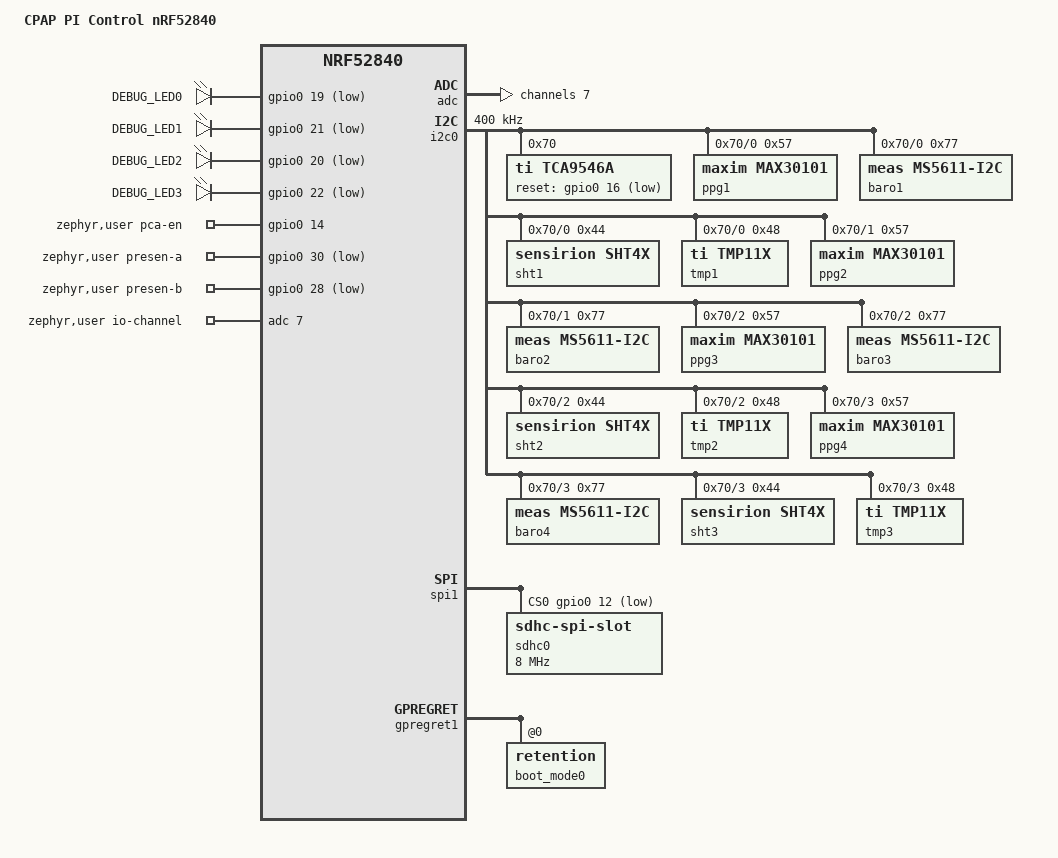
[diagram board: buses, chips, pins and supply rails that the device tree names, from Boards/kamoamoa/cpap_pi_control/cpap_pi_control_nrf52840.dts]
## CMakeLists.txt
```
cmake_minimum_required(VERSION 3.20.0)

# Adding board defined in this project to the board searching list
list(APPEND BOARD_ROOT ${CMAKE_CURRENT_SOURCE_DIR})

find_package(Zephyr REQUIRED HINTS $ENV{ZEPHYR_BASE})
project(cpap_pi)
target_sources(app PRIVATE
    src/main.c
    src/drivers/bus_diag.c
    src/drivers/driver_batt.c
    src/drivers/driver_led.c
    src/drivers/driver_ms5611.c
    src/sensors/sensor_manager.c
    src/sensors/ppg_reader.c
    src/sensors/sht40_reader.c
    src/sensors/tmp117_reader.c
    src/comm/ble_manager.c
    src/comm/comm_manager.c
    src/comm/rtt_stream.c
    src/comm/tput_sink.c
    src/storage/sd_logger.c
)
# target_sources(app PRIVATE src/myfunc.c)
target_sources_ifdef(CONFIG_MYFUNC app PRIVATE src/myfunc.c)
```

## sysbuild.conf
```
# OTA DFU: MCUboot bootloader, simplest configuration (ported from the
# caterpillar project where this setup is field-proven).
#
# No signature key is configured on purpose — the build auto-signs with
# the SDK's public development key (warns "not secure"; accepted: this
# is a research device and DFU is intentionally open).
#
# Overwrite-only: uploaded image replaces the app on next reset, no
# swap/revert machinery.  A broken update is recovered over SWD.
SB_CONFIG_BOOTLOADER_MCUBOOT=y
SB_CONFIG_MCUBOOT_MODE_OVERWRITE_ONLY=y
```

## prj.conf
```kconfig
CONFIG_PRINTK=y
CONFIG_LOG=y

CONFIG_I2C=y
CONFIG_SPI=y
CONFIG_ADC=y
CONFIG_GPIO=y

# TCA9548A mux: channel buses must init after the root mux, which must
# init after the underlying I2C controller (I2C_INIT_PRIORITY = 50)
CONFIG_I2C_TCA954X_ROOT_INIT_PRIO=60
CONFIG_I2C_TCA954X_CHANNEL_INIT_PRIO=70

# In-tree sensor drivers: MAX30101 x4 (configures mode + LED currents at
# init -> LEDs light up), SHT4x x3, TMP117 x3. Sensor devices must init
# after the mux channel buses (prio 70).
CONFIG_SENSOR=y
CONFIG_SENSOR_INIT_PRIORITY=80
CONFIG_MAX30101=y
CONFIG_SHT4X=y
CONFIG_TMP11X=y

# microSD card (SPI mode) via the disk subsystem
CONFIG_DISK_ACCESS=y
CONFIG_SDHC=y
CONFIG_SDMMC_STACK=y
CONFIG_DISK_DRIVER_SDMMC=y

# SD logging: FAT filesystem + MCUmgr file download (BLE log fetch)
CONFIG_FILE_SYSTEM=y
CONFIG_FAT_FILESYSTEM_ELM=y
CONFIG_FS_FATFS_LFN=y
# The SD writer thread and MCUmgr FS reads share the volume — FatFs
# must be reentrant (per-volume mutex) or concurrent access fails
CONFIG_FS_FATFS_REENTRANT=y
CONFIG_MCUMGR_GRP_FS=y
# Log files are multi-MB (the default profile assumes <=64 KB files)
CONFIG_MCUMGR_GRP_FS_MAX_FILE_SIZE_4GB=y
# fs_mgmt reads the chunk into a stack buffer on the MCUmgr workqueue
# (2 KB default -> stack overflow): bound the chunk and grow the stack
CONFIG_MCUMGR_GRP_FS_DL_CHUNK_SIZE_LIMIT=y
CONFIG_MCUMGR_GRP_FS_DL_CHUNK_SIZE=4096
CONFIG_MCUMGR_TRANSPORT_WORKQUEUE_STACK_SIZE=8192

CONFIG_MYFUNC=n



# BLE — peripheral, Nordic UART Service (NUS) sensor stream
CONFIG_BT=y
CONFIG_BT_PERIPHERAL=y
CONFIG_BT_DEVICE_NAME="CPAP_PI_Control"
CONFIG_BT_MAX_CONN=1
CONFIG_BT_MAX_PAIRED=1
CONFIG_BT_NUS=y

# Throughput: DLE 251 so a 204 B DATA frame fits one link packet.
# L2CAP MTU / ACL RX are sized for MCUmgr SMP reassembly (16 KB frames
# arrive as pipelined 498 B L2CAP SDUs) — caterpillar-proven values.
CONFIG_BT_BUF_ACL_TX_SIZE=251
CONFIG_BT_BUF_ACL_RX_SIZE=502
CONFIG_BT_L2CAP_TX_MTU=498
CONFIG_BT_CTLR_DATA_LENGTH_MAX=251
CONFIG_BT_DATA_LEN_UPDATE=y
CONFIG_BT_AUTO_DATA_LEN_UPDATE=y
CONFIG_BT_BUF_ACL_TX_COUNT=10
CONFIG_BT_BUF_EVT_RX_COUNT=20
CONFIG_BT_CONN_TX_MAX=10
CONFIG_BT_GAP_AUTO_UPDATE_CONN_PARAMS=y

# 2M PHY request on connect (halves airtime per notification)
CONFIG_BT_USER_PHY_UPDATE=y
CONFIG_BT_PHY_UPDATE=y

# --- OTA DFU: MCUmgr SMP over BLE (ported from caterpillar v1.5.1) ---
# MCUMGR *depends on* (doesn't select) these:
CONFIG_ZCBOR=y
CONFIG_NET_BUF=y
CONFIG_CRC=y
CONFIG_MCUMGR=y
CONFIG_MCUMGR_TRANSPORT_BT=y
CONFIG_MCUMGR_TRANSPORT_BT_REASSEMBLY=y
# Let clients query our buffer size so they use full-size upload chunks
CONFIG_MCUMGR_GRP_OS_MCUMGR_PARAMS=y
# Erase the target slot page-by-page during upload instead of all
# upfront — a bulk ~440 KB erase stalls the first upload chunk
CONFIG_IMG_ERASE_PROGRESSIVELY=y
# Renegotiate fast connection parameters while SMP traffic is active
# (Windows defaults to lazy ~60 ms intervals otherwise), relax after.
# Wide request window (7.5-30 ms): Windows rejects narrow aggressive
# requests outright but grants ~15 ms from a range it likes.
CONFIG_MCUMGR_TRANSPORT_BT_CONN_PARAM_CONTROL=y
CONFIG_MCUMGR_TRANSPORT_BT_CONN_PARAM_CONTROL_MIN_INT=6
CONFIG_MCUMGR_TRANSPORT_BT_CONN_PARAM_CONTROL_MAX_INT=24
CONFIG_MCUMGR_GRP_IMG=y
CONFIG_MCUMGR_GRP_OS=y
CONFIG_IMG_MANAGER=y
CONFIG_STREAM_FLASH=y
CONFIG_FLASH=y
CONFIG_FLASH_MAP=y
CONFIG_REBOOT=y
# Big SMP frames: each request/response cycle carries ~16 KB, amortizing
# the per-chunk round-trip stall (the fragments themselves stream as
# pipelined writes).  Two buffers instead of four to keep RAM in check.
CONFIG_MCUMGR_TRANSPORT_NETBUF_SIZE=16384
CONFIG_MCUMGR_TRANSPORT_NETBUF_COUNT=2

# Increase stacks for BLE workqueue traffic
CONFIG_BT_RX_STACK_SIZE=2048
CONFIG_SYSTEM_WORKQUEUE_STACK_SIZE=2048
```

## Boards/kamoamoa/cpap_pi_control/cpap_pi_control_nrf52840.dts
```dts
/*
 * CPAP PI Control board — Raytac MDBT50Q-P1MV2 module (nRF52840)
 *
 * Redesign of the CPAP PI control board:
 * - Normal-voltage mode (VDD = VDDH = 3.3 V) — no REGOUT0 dependence
 * - Mask link: I2C only, via PCA9517A repeater (EN = P0.14) over a
 *   SYMMETRIC 30-pin FFC (orientation-proof); mask mux reset = P0.16
 * - The mask carries a TCA9546A @0x70 with 4 site clusters:
 *     ch0/ch2/ch3: MAX30101 (0x57) + MS5611 in I2C mode (0x77)
 *                  + SHT40 (0x44) + TMP117 (0x48)
 *     ch1:         MAX30101 + MS5611 only
 * - microSD on SPI (CS P0.12), battery divider (1M/1M) on AIN7,
 *   mask-presence pins (grounded on the mask) P0.30/P0.28,
 *   4 active-low debug LEDs, reset button on P0.18
 *
 * SPDX-License-Identifier: Apache-2.0
 */

/dts-v1/;
#include <nordic/nrf52840_qiaa.dtsi>
#include <nordic/nrf52840_partition.dtsi>
#include <zephyr/dt-bindings/adc/adc.h>
#include <zephyr/dt-bindings/adc/nrf-saadc.h>
#include "cpap_pi_control_nrf52840-pinctrl.dtsi"

/ {
	model = "CPAP PI Control nRF52840";
	compatible = "kamoamoa,cpap-pi-control-nrf52840";

	chosen {
		zephyr,boot-mode = &boot_mode0;
	};

	leds {
		compatible = "gpio-leds";

		led0: led_0 {
			gpios = <&gpio0 19 GPIO_ACTIVE_LOW>;
			label = "DEBUG_LED0";
		};

		led1: led_1 {
			gpios = <&gpio0 21 GPIO_ACTIVE_LOW>;
			label = "DEBUG_LED1";
		};

		led2: led_2 {
			gpios = <&gpio0 20 GPIO_ACTIVE_LOW>;
			label = "DEBUG_LED2";
		};

		led3: led_3 {
			gpios = <&gpio0 22 GPIO_ACTIVE_LOW>;
			label = "DEBUG_LED3";
		};
	};

	zephyr,user {
		/* PCA9517A repeater enable — must be HIGH before any mask
		 * I2C traffic
		 */
		pca-en-gpios = <&gpio0 14 GPIO_ACTIVE_HIGH>;
		/* Mask presence: these FFC pins are grounded on the mask,
		 * so active-low + pull-up = "logical 1 when mask attached".
		 * Two pins because the symmetric cable maps A<->B when
		 * flipped; both are grounded mask-side.
		 */
		presen-a-gpios = <&gpio0 30 (GPIO_ACTIVE_LOW | GPIO_PULL_UP)>;
		presen-b-gpios = <&gpio0 28 (GPIO_ACTIVE_LOW | GPIO_PULL_UP)>;
		/* Battery voltage via 1M/1M divider */
		io-channels = <&adc 7>;
	};

	aliases {
		led0 = &led0;
		led1 = &led1;
		led2 = &led2;
		led3 = &led3;
		watchdog0 = &wdt0;
	};
};

&adc {
	status = "okay";
	#address-cells = <1>;
	#size-cells = <0>;

	/* BATT_SENSE = VBAT/2 (1M/1M). Gain 1/6, 0.6 V ref -> 3.6 V full
	 * scale; max acquisition time for the 500 kohm source impedance.
	 */
	channel@7 {
		reg = <7>;
		zephyr,gain = "ADC_GAIN_1_6";
		zephyr,reference = "ADC_REF_INTERNAL";
		zephyr,acquisition-time = <ADC_ACQ_TIME(ADC_ACQ_TIME_MICROSECONDS, 40)>;
		zephyr,input-positive = <NRF_SAADC_AIN7>; /* P0.31 */
		zephyr,resolution = <12>;
	};
};

&uicr {
	gpio-as-nreset;
};

&gpiote {
	status = "okay";
};

&gpio0 {
	status = "okay";
	gpio-line-names = "", "", "", "", "", "", "", "SD_MISO",
			  "", "", "", "SD_SCK", "SD_CS", "I2C_SDA", "PCA_EN",
			  "I2C_SCL", "MUX_RST", "", "RESET", "LED0", "LED2",
			  "LED1", "LED3", "", "", "", "", "",
			  "PRESEN_B", "", "PRESEN_A", "BATT_SENSE";
};

&gpio1 {
	status = "okay";
	gpio-line-names = "", "", "", "", "", "", "", "",
			  "", "SD_MOSI", "", "", "", "", "", "";
};

/* Mask bus: PCA9517A repeater (transparent) then the mask's TCA9546A
 * mux @0x70 (A0=A1=GND), reset via P0.16. Bus pull-ups are on the
 * mask (4.7k to 3.3 V per channel).
 */
&i2c0 {
	status = "okay";
	/* Fast mode is essential: ~26 mux-switched transactions per 10 ms
	 * tick (4x PPG + baro cycle) do not fit at the 100 kHz default.
	 * All devices (PCA9517A, TCA9546A, MAX30101, MS5611, SHT40,
	 * TMP117) are 400 kHz capable.
	 */
	clock-frequency = <I2C_BITRATE_FAST>;
	pinctrl-0 = <&i2c0_default>;
	pinctrl-1 = <&i2c0_sleep>;
	pinctrl-names = "default", "sleep";

	tca9546a: tca9546a@70 {
		compatible = "ti,tca9546a";
		reg = <0x70>;
		status = "okay";
		#address-cells = <1>;
		#size-cells = <0>;
		reset-gpios = <&gpio0 16 GPIO_ACTIVE_LOW>;

		mux_i2c0: mux_i2c@0 {
			compatible = "ti,tca9546a-channel";
			reg = <0>;
			#address-cells = <1>;
			#size-cells = <0>;

			ppg1: max30101@57 {
				compatible = "maxim,max30101";
				reg = <0x57>;
				acq-mode = "multi-led";
				/* DO NOT enable all 4 slots (e.g. duplicating
				 * a channel into slot 4): this NCS driver
				 * hardcodes MAX30101_MAX_NUM_CHANNELS=3 (a 9
				 * byte FIFO buffer, a 3-element raw[] array) —
				 * 4 active slots overflows both on every
				 * fetch. Learned the hard way; see power.md.
				 */
				led-slot = <1 2 3 0>; /* R, IR, G */
				smp-sr = <100>;
				led-pw = <411>;
				/* smp-ave does NOT average-without-cost: it
				 * decimates the FIFO's true refresh rate to
				 * smp-sr/smp-ave (e.g. 4 -> 25 Hz here), and
				 * our 100 Hz tick just re-reads the same
				 * stale FIFO entry 3 out of 4 polls. Tried
				 * smp-ave=4, caused a repeat-3x-then-jump
				 * stairstep in the data. Left at default (1,
				 * no averaging) so every 10 ms tick gets a
				 * genuinely fresh sample. See power.md.
				 */
				fifo-rollover-en;
				/* Performance-first: pushed well above the
				 * previous 6.2/25.4 mA (max-performance pass,
				 * power not a constraint). Below the 0xFF
				 * default that's known to saturate on skin;
				 * ppg_reader.c's ambient dark-reference buys
				 * back the ADC headroom this costs.
				 */
				led-pa = [60 60 b0];
				adc-rge = <16384>;
			};

			baro1: ms5611@77 {
				compatible = "meas,ms5611-i2c";
				reg = <0x77>;
			};

			sht1: sht4x@44 {
				compatible = "sensirion,sht4x";
				reg = <0x44>;
				repeatability = <2>;
			};

			tmp1: tmp117@48 {
				compatible = "ti,tmp11x";
				reg = <0x48>;
			};
		};

		mux_i2c1: mux_i2c@1 {
			compatible = "ti,tca9546a-channel";
			reg = <1>;
			#address-cells = <1>;
			#size-cells = <0>;

			ppg2: max30101@57 {
				compatible = "maxim,max30101";
				reg = <0x57>;
				acq-mode = "multi-led";
				led-slot = <1 2 3 0>; /* R, IR, G — see ppg1 note: no 4th slot */
				smp-sr = <100>;
				led-pw = <411>;
				/* smp-ave left at default — see ppg1 note */
				fifo-rollover-en;
				/* Performance-first: pushed well above the
				 * previous 6.2/25.4 mA (max-performance pass,
				 * power not a constraint). Below the 0xFF
				 * default that's known to saturate on skin;
				 * ppg_reader.c's ambient dark-reference buys
				 * back the ADC headroom this costs.
				 */
				led-pa = [60 60 b0];
				adc-rge = <16384>;
			};

			baro2: ms5611@77 {
				compatible = "meas,ms5611-i2c";
				reg = <0x77>;
			};
		};

		mux_i2c2: mux_i2c@2 {
			compatible = "ti,tca9546a-channel";
			reg = <2>;
			#address-cells = <1>;
			#size-cells = <0>;

			ppg3: max30101@57 {
				compatible = "maxim,max30101";
				reg = <0x57>;
				acq-mode = "multi-led";
				led-slot = <1 2 3 0>; /* R, IR, G — see ppg1 note: no 4th slot */
				smp-sr = <100>;
				led-pw = <411>;
				/* smp-ave left at default — see ppg1 note */
				fifo-rollover-en;
				/* Performance-first: pushed well above the
				 * previous 6.2/25.4 mA (max-performance pass,
				 * power not a constraint). Below the 0xFF
				 * default that's known to saturate on skin;
				 * ppg_reader.c's ambient dark-reference buys
				 * back the ADC headroom this costs.
				 */
				led-pa = [60 60 b0];
				adc-rge = <16384>;
			};

			baro3: ms5611@77 {
				compatible = "meas,ms5611-i2c";
				reg = <0x77>;
			};

			sht2: sht4x@44 {
				compatible = "sensirion,sht4x";
				reg = <0x44>;
				repeatability = <2>;
			};

			tmp2: tmp117@48 {
				compatible = "ti,tmp11x";
				reg = <0x48>;
			};
		};

		mux_i2c3: mux_i2c@3 {
			compatible = "ti,tca9546a-channel";
			reg = <3>;
			#address-cells = <1>;
			#size-cells = <0>;

			ppg4: max30101@57 {
				compatible = "maxim,max30101";
				reg = <0x57>;
				acq-mode = "multi-led";
				led-slot = <1 2 3 0>; /* R, IR, G — see ppg1 note: no 4th slot */
				smp-sr = <100>;
				led-pw = <411>;
				/* smp-ave left at default — see ppg1 note */
				fifo-rollover-en;
				/* Performance-first: pushed well above the
				 * previous 6.2/25.4 mA (max-performance pass,
				 * power not a constraint). Below the 0xFF
				 * default that's known to saturate on skin;
				 * ppg_reader.c's ambient dark-reference buys
				 * back the ADC headroom this costs.
				 */
				led-pa = [60 60 b0];
				adc-rge = <16384>;
			};

			baro4: ms5611@77 {
				compatible = "meas,ms5611-i2c";
				reg = <0x77>;
			};

			sht3: sht4x@44 {
				compatible = "sensirion,sht4x";
				reg = <0x44>;
				repeatability = <2>;
			};

			tmp3: tmp117@48 {
				compatible = "ti,tmp11x";
				reg = <0x48>;
			};
		};
	};
};

/* microSD card, SPI mode */
&spi1 {
	status = "okay";
	pinctrl-0 = <&spi1_default>;
	pinctrl-1 = <&spi1_sleep>;
	pinctrl-names = "default", "sleep";
	cs-gpios = <&gpio0 12 GPIO_ACTIVE_LOW>;

	sdhc0: sdhc@0 {
		compatible = "zephyr,sdhc-spi-slot";
		reg = <0>;
		status = "okay";
		spi-max-frequency = <8000000>;

		mmc {
			compatible = "zephyr,sdmmc-disk";
			disk-name = "SD";
			status = "okay";
		};
	};
};

&gpregret1 {
	status = "okay";

	boot_mode0: boot_mode@0 {
		compatible = "zephyr,retention";
		status = "okay";
		reg = <0x0 0x1>;
	};
};
```

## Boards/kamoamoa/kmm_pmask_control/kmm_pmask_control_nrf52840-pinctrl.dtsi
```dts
&pinctrl {
	/* I2C to the mask via PCA9517A repeater (EN = P0.14) */
	i2c0_default: i2c0_default {
		group1 {
			psels = <NRF_PSEL(TWIM_SDA, 0, 13)>,
				    <NRF_PSEL(TWIM_SCL, 0, 15)>;
		};
	};

	i2c0_sleep: i2c0_sleep {
		group1 {
			psels = <NRF_PSEL(TWIM_SDA, 0, 13)>,
				    <NRF_PSEL(TWIM_SCL, 0, 15)>;
			low-power-enable;
		};
	};

	/* microSD card, SPI mode */
	spi1_default: spi1_default {
		group1 {
			psels = <NRF_PSEL(SPIM_SCK, 0, 11)>,
				    <NRF_PSEL(SPIM_MOSI, 1, 9)>,
				    <NRF_PSEL(SPIM_MISO, 0, 7)>;
		};
	};

	spi1_sleep: spi1_sleep {
		group1 {
			psels = <NRF_PSEL(SPIM_SCK, 0, 11)>,
				    <NRF_PSEL(SPIM_MOSI, 1, 9)>,
				    <NRF_PSEL(SPIM_MISO, 0, 7)>;
			low-power-enable;
		};
	};
};
```

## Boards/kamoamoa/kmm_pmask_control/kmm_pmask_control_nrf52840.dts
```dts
/*
 * KMM PMask Control board — Raytac MDBT50Q-P1MV2 module (nRF52840)
 *
 * Redesign of the CPAP PI control board:
 * - Normal-voltage mode (VDD = VDDH = 3.3 V) — no REGOUT0 dependence
 * - Mask link: I2C only, via PCA9517A repeater (EN = P0.14) over a
 *   SYMMETRIC 30-pin FFC (orientation-proof); mask mux reset = P0.16
 * - The mask carries a TCA9546A @0x70 with 4 site clusters:
 *     ch0/ch2/ch3: MAX30101 (0x57) + MS5611 in I2C mode (0x77)
 *                  + SHT40 (0x44) + TMP117 (0x48)
 *     ch1:         MAX30101 + MS5611 only
 * - microSD on SPI (CS P0.12), battery divider (1M/1M) on AIN7,
 *   mask-presence pins (grounded on the mask) P0.30/P0.28,
 *   4 active-low debug LEDs, reset button on P0.18
 *
 * SPDX-License-Identifier: Apache-2.0
 */

/dts-v1/;
#include <nordic/nrf52840_qiaa.dtsi>
#include <nordic/nrf52840_partition.dtsi>
#include <zephyr/dt-bindings/adc/adc.h>
#include <zephyr/dt-bindings/adc/nrf-saadc.h>
#include "kmm_pmask_control_nrf52840-pinctrl.dtsi"

/ {
	model = "KMM PMask Control nRF52840";
	compatible = "kamoamoa,kmm-pmask-control-nrf52840";

	chosen {
		zephyr,boot-mode = &boot_mode0;
	};

	leds {
		compatible = "gpio-leds";

		led0: led_0 {
			gpios = <&gpio0 19 GPIO_ACTIVE_LOW>;
			label = "DEBUG_LED0";
		};

		led1: led_1 {
			gpios = <&gpio0 21 GPIO_ACTIVE_LOW>;
			label = "DEBUG_LED1";
		};

		led2: led_2 {
			gpios = <&gpio0 20 GPIO_ACTIVE_LOW>;
			label = "DEBUG_LED2";
		};

		led3: led_3 {
			gpios = <&gpio0 22 GPIO_ACTIVE_LOW>;
			label = "DEBUG_LED3";
		};
	};

	zephyr,user {
		/* PCA9517A repeater enable — must be HIGH before any mask
		 * I2C traffic
		 */
		pca-en-gpios = <&gpio0 14 GPIO_ACTIVE_HIGH>;
		/* Mask presence: these FFC pins are grounded on the mask,
		 * so active-low + pull-up = "logical 1 when mask attached".
		 * Two pins because the symmetric cable maps A<->B when
		 * flipped; both are grounded mask-side.
		 */
		presen-a-gpios = <&gpio0 30 (GPIO_ACTIVE_LOW | GPIO_PULL_UP)>;
		presen-b-gpios = <&gpio0 28 (GPIO_ACTIVE_LOW | GPIO_PULL_UP)>;
		/* Battery voltage via 1M/1M divider */
		io-channels = <&adc 7>;
	};

	aliases {
		led0 = &led0;
		led1 = &led1;
		led2 = &led2;
		led3 = &led3;
		watchdog0 = &wdt0;
	};
};

&adc {
	status = "okay";
	#address-cells = <1>;
	#size-cells = <0>;

	/* BATT_SENSE = VBAT/2 (1M/1M). Gain 1/6, 0.6 V ref -> 3.6 V full
	 * scale; max acquisition time for the 500 kohm source impedance.
	 */
	channel@7 {
		reg = <7>;
		zephyr,gain = "ADC_GAIN_1_6";
		zephyr,reference = "ADC_REF_INTERNAL";
		zephyr,acquisition-time = <ADC_ACQ_TIME(ADC_ACQ_TIME_MICROSECONDS, 40)>;
		zephyr,input-positive = <NRF_SAADC_AIN7>; /* P0.31 */
		zephyr,resolution = <12>;
	};
};

&uicr {
	gpio-as-nreset;
};

&gpiote {
	status = "okay";
};

&gpio0 {
	status = "okay";
	gpio-line-names = "", "", "", "", "", "", "", "SD_MISO",
			  "", "", "", "SD_SCK", "SD_CS", "I2C_SDA", "PCA_EN",
			  "I2C_SCL", "MUX_RST", "", "RESET", "LED0", "LED2",
			  "LED1", "LED3", "", "", "", "", "",
			  "PRESEN_B", "", "PRESEN_A", "BATT_SENSE";
};

&gpio1 {
	status = "okay";
	gpio-line-names = "", "", "", "", "", "", "", "",
			  "", "SD_MOSI", "", "", "", "", "", "";
};

/* Mask bus: PCA9517A repeater (transparent) then the mask's TCA9546A
 * mux @0x70 (A0=A1=GND), reset via P0.16. Bus pull-ups are on the
 * mask (4.7k to 3.3 V per channel).
 */
&i2c0 {
	status = "okay";
	/* Fast mode is essential: ~26 mux-switched transactions per 10 ms
	 * tick (4x PPG + baro cycle) do not fit at the 100 kHz default.
	 * All devices (PCA9517A, TCA9546A, MAX30101, MS5611, SHT40,
	 * TMP117) are 400 kHz capable.
	 */
	clock-frequency = <I2C_BITRATE_FAST>;
	pinctrl-0 = <&i2c0_default>;
	pinctrl-1 = <&i2c0_sleep>;
	pinctrl-names = "default", "sleep";

	tca9546a: tca9546a@70 {
		compatible = "ti,tca9546a";
		reg = <0x70>;
		status = "okay";
		#address-cells = <1>;
		#size-cells = <0>;
		reset-gpios = <&gpio0 16 GPIO_ACTIVE_LOW>;

		mux_i2c0: mux_i2c@0 {
			compatible = "ti,tca9546a-channel";
			reg = <0>;
			#address-cells = <1>;
			#size-cells = <0>;

			ppg1: max30101@57 {
				compatible = "maxim,max30101";
				reg = <0x57>;
				acq-mode = "multi-led";
				led-slot = <1 2 3 0>; /* R, IR, G */
				smp-sr = <100>;
				led-pw = <411>;
				fifo-rollover-en;
				led-pa = [1f 1f 7f];
				adc-rge = <16384>;
			};

			baro1: ms5611@77 {
				compatible = "meas,ms5611-i2c";
				reg = <0x77>;
			};

			sht1: sht4x@44 {
				compatible = "sensirion,sht4x";
				reg = <0x44>;
				repeatability = <2>;
			};

			tmp1: tmp117@48 {
				compatible = "ti,tmp11x";
				reg = <0x48>;
			};
		};

		mux_i2c1: mux_i2c@1 {
			compatible = "ti,tca9546a-channel";
			reg = <1>;
			#address-cells = <1>;
			#size-cells = <0>;

			ppg2: max30101@57 {
				compatible = "maxim,max30101";
				reg = <0x57>;
				acq-mode = "multi-led";
				led-slot = <1 2 3 0>;
				smp-sr = <100>;
				led-pw = <411>;
				fifo-rollover-en;
				led-pa = [1f 1f 7f];
				adc-rge = <16384>;
			};

			baro2: ms5611@77 {
				compatible = "meas,ms5611-i2c";
				reg = <0x77>;
			};
		};

		mux_i2c2: mux_i2c@2 {
			compatible = "ti,tca9546a-channel";
			reg = <2>;
			#address-cells = <1>;
			#size-cells = <0>;

			ppg3: max30101@57 {
				compatible = "maxim,max30101";
				reg = <0x57>;
				acq-mode = "multi-led";
				led-slot = <1 2 3 0>;
				smp-sr = <100>;
				led-pw = <411>;
				fifo-rollover-en;
				led-pa = [1f 1f 7f];
				adc-rge = <16384>;
			};

			baro3: ms5611@77 {
				compatible = "meas,ms5611-i2c";
				reg = <0x77>;
			};

			sht2: sht4x@44 {
				compatible = "sensirion,sht4x";
				reg = <0x44>;
				repeatability = <2>;
			};

			tmp2: tmp117@48 {
				compatible = "ti,tmp11x";
				reg = <0x48>;
			};
		};

		mux_i2c3: mux_i2c@3 {
			compatible = "ti,tca9546a-channel";
			reg = <3>;
			#address-cells = <1>;
			#size-cells = <0>;

			ppg4: max30101@57 {
				compatible = "maxim,max30101";
				reg = <0x57>;
				acq-mode = "multi-led";
				led-slot = <1 2 3 0>;
				smp-sr = <100>;
				led-pw = <411>;
				fifo-rollover-en;
				led-pa = [1f 1f 7f];
				adc-rge = <16384>;
			};

			baro4: ms5611@77 {
				compatible = "meas,ms5611-i2c";
				reg = <0x77>;
			};

			sht3: sht4x@44 {
				compatible = "sensirion,sht4x";
				reg = <0x44>;
				repeatability = <2>;
			};

			tmp3: tmp117@48 {
				compatible = "ti,tmp11x";
				reg = <0x48>;
			};
		};
	};
};

/* microSD card, SPI mode */
&spi1 {
	status = "okay";
	pinctrl-0 = <&spi1_default>;
	pinctrl-1 = <&spi1_sleep>;
	pinctrl-names = "default", "sleep";
	cs-gpios = <&gpio0 12 GPIO_ACTIVE_LOW>;

	sdhc0: sdhc@0 {
		compatible = "zephyr,sdhc-spi-slot";
		reg = <0>;
		status = "okay";
		spi-max-frequency = <8000000>;

		mmc {
			compatible = "zephyr,sdmmc-disk";
			disk-name = "SD";
			status = "okay";
		};
	};
};

&gpregret1 {
	status = "okay";

	boot_mode0: boot_mode@0 {
		compatible = "zephyr,retention";
		status = "okay";
		reg = <0x0 0x1>;
	};
};
```

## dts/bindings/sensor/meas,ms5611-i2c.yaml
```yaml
# Project-local binding for the TE MS5611-01BA03 pressure sensor in
# I2C mode (PS = high; address 0x76/0x77 selected by CSB).
#
# SPDX-License-Identifier: Apache-2.0

description: |
    TE Connectivity MS5611 digital pressure and temperature sensor (I2C).

compatible: "meas,ms5611-i2c"

include: [sensor-device.yaml, i2c-device.yaml]
```

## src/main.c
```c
/*
 * CPAP PI Control — PPG + Pressure + Temp/Humidity Sensing Firmware
 * Custom nRF52840 board (cpap_pi_control/nrf52840, Raytac MDBT50Q-P1MV2)
 */

#include <zephyr/kernel.h>
#include <zephyr/sys/printk.h>
#include <zephyr/logging/log.h>

#include "drivers/bus_diag.h"
#include "drivers/driver_led.h"
#include "sensors/sensor_manager.h"
#include "comm/comm_manager.h"
#include "storage/sd_logger.h"

LOG_MODULE_REGISTER(cpap_pi_main, LOG_LEVEL_DBG);

int main(void)
{
    printk("\n=== CPAP PI Control Boot ===\n");

    /* Debug LEDs (P0.19/21/20/22, active low) */
    if (drv_led_init() < 0) {
        LOG_ERR("Failed to init LEDs");
    }

    /* Mask bus: PCA9517A repeater ON + presence pins, then scan the
     * TCA9546A channels for the four sensor clusters, then the SD card.
     */
    int mask_present = bus_diag_prepare_mask_bus();
    int found = bus_diag_scan_mux();
    int sd_ok = bus_diag_sd_check();

    printk("Bus diag: mask %s, %d/14 sensors, SD %s\n",
           mask_present == 1 ? "attached" : "NOT ATTACHED",
           found, sd_ok == 0 ? "OK" : "absent/fail");
    g_sensor_data.sd_ok = (sd_ok == 0);

    /* BLE: advertising only for now (data protocol redesign for the
     * 4-site topology pending — see comm_manager.c)
     */
    if (comm_manager_init() < 0) {
        LOG_ERR("Failed to init comm layer");
    }

    /* SD logging: log-by-default whenever a card is present */
    sd_logger_start();

    /* Sampling thread: PPG x4 + baro x4 @100 Hz, SHT/TMP/batt @1 Hz */
    sensor_manager_start();

    while (1) {
        drv_led_toggle(LED_1);  /* heartbeat on DEBUG_LED0 */
        k_msleep(500);
    }
}
```
